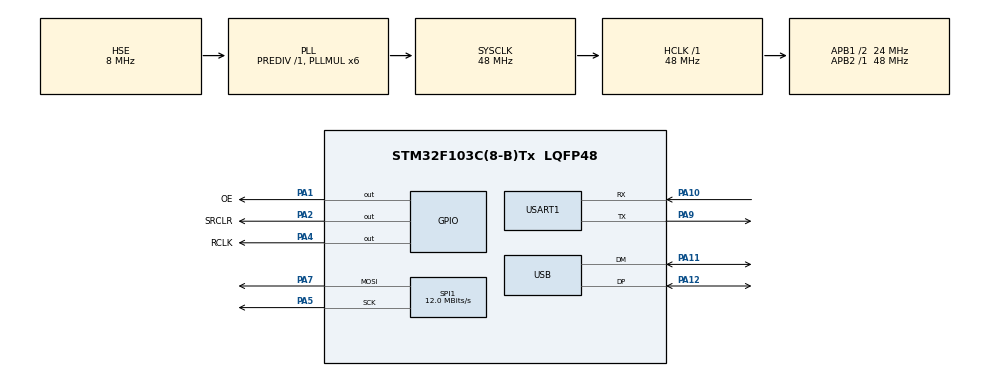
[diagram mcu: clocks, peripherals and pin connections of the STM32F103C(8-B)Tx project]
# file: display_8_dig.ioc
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Dma.Request0=SPI1_TX
Dma.Request1=USART1_RX
Dma.SPI1_TX.0.Direction=DMA_MEMORY_TO_PERIPH
Dma.SPI1_TX.0.Instance=DMA1_Channel3
Dma.SPI1_TX.0.MemDataAlignment=DMA_MDATAALIGN_BYTE
Dma.SPI1_TX.0.MemInc=DMA_MINC_ENABLE
Dma.SPI1_TX.0.Mode=DMA_NORMAL
Dma.SPI1_TX.0.PeriphDataAlignment=DMA_PDATAALIGN_BYTE
Dma.SPI1_TX.0.PeriphInc=DMA_PINC_DISABLE
Dma.SPI1_TX.0.Priority=DMA_PRIORITY_LOW
Dma.USART1_RX.1.Direction=DMA_PERIPH_TO_MEMORY
Dma.USART1_RX.1.Instance=DMA1_Channel5
Dma.USART1_RX.1.MemDataAlignment=DMA_MDATAALIGN_BYTE
Dma.USART1_RX.1.MemInc=DMA_MINC_ENABLE
Dma.USART1_RX.1.Mode=DMA_NORMAL
Dma.USART1_RX.1.PeriphDataAlignment=DMA_PDATAALIGN_BYTE
Dma.USART1_RX.1.PeriphInc=DMA_PINC_DISABLE
Dma.USART1_RX.1.Priority=DMA_PRIORITY_LOW
Mcu.Family=STM32F1
Mcu.Name=STM32F103C(8-B)Tx
Mcu.Package=LQFP48
NVIC.DMA1_Channel3_IRQn=true\:0\:0\:false\:false\:true\:false\:true
NVIC.DMA1_Channel5_IRQn=true\:0\:0\:false\:false\:true\:false\:true
NVIC.PriorityGroup=NVIC_PRIORITYGROUP_4
NVIC.SPI1_IRQn=true\:0\:0\:false\:false\:true\:true\:true
NVIC.TIM2_IRQn=true\:0\:0\:false\:false\:true\:true\:true
NVIC.TIM3_IRQn=true\:3\:0\:true\:false\:true\:true\:true
NVIC.USART1_IRQn=true\:0\:0\:false\:false\:true\:true\:true
NVIC.USB_LP_CAN1_RX0_IRQn=true\:0\:0\:false\:false\:true\:false\:true
PA1.GPIO_Label=OE
PA1.GPIO_PuPd=GPIO_PULLDOWN
PA1.PinState=GPIO_PIN_RESET
PA1.Signal=GPIO_Output
PA10.Mode=Asynchronous
PA10.Signal=USART1_RX
PA11.Mode=Device
PA11.Signal=USB_DM
PA12.Mode=Device
PA12.Signal=USB_DP
PA13.Mode=Serial_Wire
PA13.Signal=SYS_JTMS-SWDIO
PA14.Mode=Serial_Wire
PA14.Signal=SYS_JTCK-SWCLK
PA2.GPIO_Label=SRCLR
PA2.GPIO_PuPd=GPIO_PULLUP
PA2.PinState=GPIO_PIN_SET
PA2.Signal=GPIO_Output
PA4.GPIO_Label=RCLK
PA4.GPIO_PuPd=GPIO_PULLDOWN
PA4.Signal=GPIO_Output
PA5.Mode=TX_Only_Simplex_Unidirect_Master
PA5.Signal=SPI1_SCK
PA7.Mode=TX_Only_Simplex_Unidirect_Master
PA7.Signal=SPI1_MOSI
PA9.Mode=Asynchronous
PA9.Signal=USART1_TX
PD0-OSC_IN.Mode=HSE-External-Oscillator
PD0-OSC_IN.Signal=RCC_OSC_IN
PD1-OSC_OUT.Mode=HSE-External-Oscillator
PD1-OSC_OUT.Signal=RCC_OSC_OUT
ProjectManager.HeapSize=0x200
ProjectManager.StackSize=0x400
ProjectManager.TargetToolchain=SW4STM32
RCC.AHBFreq_Value=48000000
RCC.APB1CLKDivider=RCC_HCLK_DIV2
RCC.APB1Freq_Value=24000000
RCC.APB1TimFreq_Value=48000000
RCC.APB2Freq_Value=48000000
RCC.APB2TimFreq_Value=48000000
RCC.HCLKFreq_Value=48000000
RCC.PLLMUL=RCC_PLL_MUL6
RCC.SYSCLKFreq_VALUE=48000000
RCC.SYSCLKSource=RCC_SYSCLKSOURCE_PLLCLK
RCC.USBFreq_Value=48000000
SPI1.BaudRatePrescaler=SPI_BAUDRATEPRESCALER_4
SPI1.CalculateBaudRate=12.0 MBits/s
SPI1.Direction=SPI_DIRECTION_2LINES
SPI1.Mode=SPI_MODE_MASTER
SPI1.VirtualNSS=VM_NSSHARD
SPI1.VirtualType=VM_MASTER
TIM2.Period=9599
TIM3.Period=47999
USART1.VirtualMode=VM_ASYNC
USB_DEVICE.CLASS_NAME_FS=CDC
USB_DEVICE.VirtualMode=Cdc
USB_DEVICE.VirtualModeFS=Cdc_FS
VP_TIM2_VS_ClockSourceINT.Mode=Internal
VP_TIM3_VS_ClockSourceINT.Mode=Internal
VP_USB_DEVICE_VS_USB_DEVICE_CDC_FS.Mode=CDC_FS
board=custom

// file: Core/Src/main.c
/* USER CODE BEGIN Header */
/**
  ******************************************************************************
  * @file           : main.c
  * @brief          : Main program body
  ******************************************************************************
  * @attention
  *
  * <h2><center>&copy; Copyright (c) 2021 STMicroelectronics.
  * All rights reserved.</center></h2>
  *
  * This software component is licensed by ST under Ultimate Liberty license
  * SLA0044, the "License"; You may not use this file except in compliance with
  * the License. You may obtain a copy of the License at:
  *                             www.st.com/SLA0044
  *
  ******************************************************************************
  */
/* USER CODE END Header */
#include "main.h"
#include "dma.h"
#include "spi.h"
#include "tim.h"
#include "usart.h"
#include "usb_device.h"
#include "gpio.h"

/* USER CODE BEGIN Includes */
#include "display.h"
/* USER CODE END Includes */

/* USER CODE BEGIN PV */
uint8_t uartBuf[256];
uint8_t rxComplete = 0;
/* USER CODE END PV */

void SystemClock_Config(void);

int main(void)
{

  /* MCU Configuration--------------------------------------------------------*/

  /* Reset of all peripherals, Initializes the Flash interface and the Systick. */
  HAL_Init();

  /* Configure the system clock */
  SystemClock_Config();

  /* Initialize all configured peripherals */
  MX_GPIO_Init();
  MX_DMA_Init();
  MX_SPI1_Init();
  MX_USART1_UART_Init();
  MX_USB_DEVICE_Init();
  MX_TIM2_Init();
  MX_TIM3_Init();
  /* USER CODE BEGIN 2 */
  DBGMCU->CR |= DBGMCU_CR_DBG_TIM2_STOP;
  DBGMCU->CR |= DBGMCU_CR_DBG_TIM3_STOP;
    HAL_UART_Receive_DMA(&huart1, uartBuf, sizeof(uartBuf));
    __HAL_UART_ENABLE_IT(&huart1,UART_IT_IDLE);
    initDisplay();

  /* USER CODE END 2 */

  /* Infinite loop */
  /* USER CODE BEGIN WHILE */
  while (1)
  {
      updateField();
      if (rxComplete == 1 && HAL_UART_GetState(&huart1) == HAL_UART_STATE_READY){
          rxComplete = 0;
          uint8_t size = sizeof(uartBuf)-huart1.hdmarx->Instance->CNDTR;
          put_string(uartBuf, size);
          memset(uartBuf, 0, sizeof(uartBuf));
          HAL_UART_DMAStop(&huart1);
          HAL_UART_Receive_DMA(&huart1, uartBuf, sizeof(uartBuf));
      }
    /* USER CODE END WHILE */

  }
}

void SystemClock_Config(void)
{
  RCC_OscInitTypeDef RCC_OscInitStruct = {0};
  RCC_ClkInitTypeDef RCC_ClkInitStruct = {0};
  RCC_PeriphCLKInitTypeDef PeriphClkInit = {0};

  /** Initializes the RCC Oscillators according to the specified parameters
  * in the RCC_OscInitTypeDef structure.
  */
  RCC_OscInitStruct.OscillatorType = RCC_OSCILLATORTYPE_HSE;
  RCC_OscInitStruct.HSEState = RCC_HSE_ON;
  RCC_OscInitStruct.HSEPredivValue = RCC_HSE_PREDIV_DIV1;
  RCC_OscInitStruct.HSIState = RCC_HSI_ON;
  RCC_OscInitStruct.PLL.PLLState = RCC_PLL_ON;
  RCC_OscInitStruct.PLL.PLLSource = RCC_PLLSOURCE_HSE;
  RCC_OscInitStruct.PLL.PLLMUL = RCC_PLL_MUL6;
  if (HAL_RCC_OscConfig(&RCC_OscInitStruct) != HAL_OK)
  {
    Error_Handler();
  }
  /** Initializes the CPU, AHB and APB buses clocks
  */
  RCC_ClkInitStruct.ClockType = RCC_CLOCKTYPE_HCLK|RCC_CLOCKTYPE_SYSCLK
                              |RCC_CLOCKTYPE_PCLK1|RCC_CLOCKTYPE_PCLK2;
  RCC_ClkInitStruct.SYSCLKSource = RCC_SYSCLKSOURCE_PLLCLK;
  RCC_ClkInitStruct.AHBCLKDivider = RCC_SYSCLK_DIV1;
  RCC_ClkInitStruct.APB1CLKDivider = RCC_HCLK_DIV2;
  RCC_ClkInitStruct.APB2CLKDivider = RCC_HCLK_DIV1;

  if (HAL_RCC_ClockConfig(&RCC_ClkInitStruct, FLASH_LATENCY_1) != HAL_OK)
  {
    Error_Handler();
  }
  PeriphClkInit.PeriphClockSelection = RCC_PERIPHCLK_USB;
  PeriphClkInit.UsbClockSelection = RCC_USBCLKSOURCE_PLL;
  if (HAL_RCCEx_PeriphCLKConfig(&PeriphClkInit) != HAL_OK)
  {
    Error_Handler();
  }
}

/* USER CODE BEGIN 4 */
void USART1_IRQHandler(void)
{
    /* USER CODE BEGIN USART1_IRQn 0 */

    /* USER CODE END USART1_IRQn 0 */
    HAL_UART_IRQHandler(&huart1);
    /* USER CODE BEGIN USART1_IRQn 1 */
    if (huart1.Instance->SR & USART_SR_IDLE_Msk)
    {
        __HAL_UART_CLEAR_IDLEFLAG(&huart1);
        rxComplete = 1;
        HAL_UART_DMAStop(&huart1);
    }
    /* USER CODE END USART1_IRQn 1 */
}

/* USER CODE END 4 */

void Error_Handler(void)
{
  __disable_irq();
  while (1)
  {
  }
}

/************************ (C) COPYRIGHT STMicroelectronics *****END OF FILE****/
